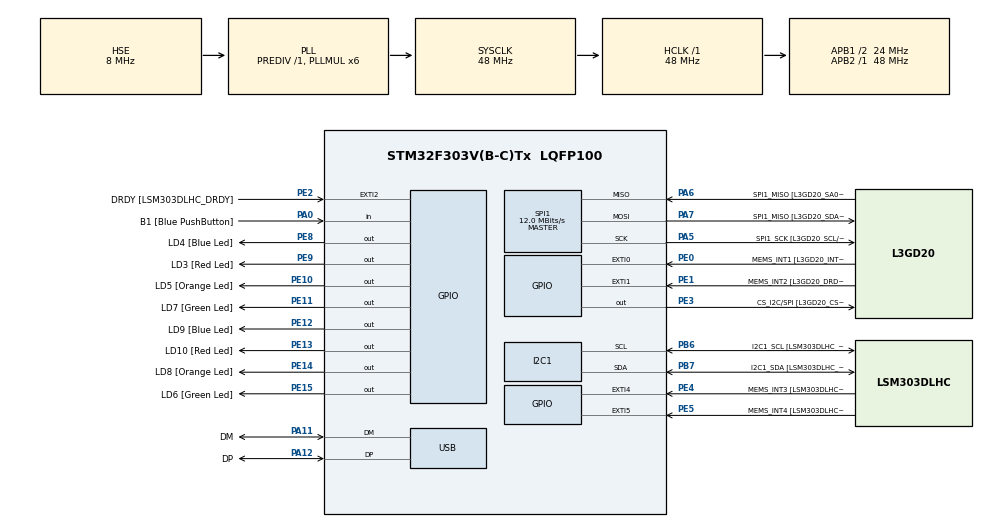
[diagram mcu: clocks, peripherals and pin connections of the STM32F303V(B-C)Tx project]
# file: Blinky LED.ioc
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I2C1.Timing=0x2000090E
I2C1.Timing-I2C=0x2000090E
Mcu.Family=STM32F3
Mcu.Name=STM32F303V(B-C)Tx
Mcu.Package=LQFP100
NVIC.PriorityGroup=NVIC_PRIORITYGROUP_0
PA0.GPIO_Label=B1 [Blue PushButton]
PA0.Signal=GPIO_Input
PA11.GPIO_Label=DM
PA11.Mode=Device
PA11.Signal=USB_DM
PA12.GPIO_Label=DP
PA12.Mode=Device
PA12.Signal=USB_DP
PA13.GPIO_Label=SWDIO
PA13.Mode=Serial_Wire
PA13.Signal=SYS_JTMS-SWDIO
PA14.GPIO_Label=SWCLK
PA14.Mode=Serial_Wire
PA14.Signal=SYS_JTCK-SWCLK
PA5.GPIO_Label=SPI1_SCK [L3GD20_SCL/SPC]
PA5.Mode=Full_Duplex_Master
PA5.Signal=SPI1_SCK
PA6.GPIO_Label=SPI1_MISO [L3GD20_SA0/SDO]
PA6.Mode=Full_Duplex_Master
PA6.Signal=SPI1_MISO
PA7.GPIO_Label=SPI1_MISO [L3GD20_SDA/SDI/SDO]
PA7.Mode=Full_Duplex_Master
PA7.Signal=SPI1_MOSI
PB3.GPIO_Label=SWO
PB3.Signal=SYS_JTDO-TRACESWO
PB6.GPIO_Label=I2C1_SCL [LSM303DLHC_SCL]
PB6.GPIO_Pu=GPIO_PULLUP
PB6.Mode=I2C
PB6.Signal=I2C1_SCL
PB7.GPIO_Label=I2C1_SDA [LSM303DLHC_SDA]
PB7.GPIO_Pu=GPIO_PULLUP
PB7.Mode=I2C
PB7.Signal=I2C1_SDA
PC14-OSC32_IN.GPIO_Label=OSC32_IN
PC14-OSC32_IN.Signal=RCC_OSC32_IN
PC15-OSC32_OUT.GPIO_Label=OSC32_OUT
PC15-OSC32_OUT.Signal=RCC_OSC32_OUT
PE0.GPIO_Label=MEMS_INT1 [L3GD20_INT1]
PE0.GPIO_ModeDefaultEXTI=GPIO_MODE_EVT_RISING
PE0.Signal=GPXTI0
PE1.GPIO_Label=MEMS_INT2 [L3GD20_DRDY/INT2]
PE1.GPIO_ModeDefaultEXTI=GPIO_MODE_EVT_RISING
PE1.Signal=GPXTI1
PE10.GPIO_Label=LD5 [Orange Led]
PE10.Signal=GPIO_Output
PE11.GPIO_Label=LD7 [Green Led]
PE11.Signal=GPIO_Output
PE12.GPIO_Label=LD9 [Blue Led]
PE12.Signal=GPIO_Output
PE13.GPIO_Label=LD10 [Red Led]
PE13.Signal=GPIO_Output
PE14.GPIO_Label=LD8 [Orange Led]
PE14.Signal=GPIO_Output
PE15.GPIO_Label=LD6 [Green Led]
PE15.Signal=GPIO_Output
PE2.GPIO_Label=DRDY [LSM303DLHC_DRDY]
PE2.GPIO_ModeDefaultEXTI=GPIO_MODE_EVT_RISING
PE2.Signal=GPXTI2
PE3.GPIO_Label=CS_I2C/SPI [L3GD20_CS_I2C/SPI]
PE3.Signal=GPIO_Output
PE4.GPIO_Label=MEMS_INT3 [LSM303DLHC_INT1]
PE4.GPIO_ModeDefaultEXTI=GPIO_MODE_EVT_RISING
PE4.Signal=GPXTI4
PE5.GPIO_Label=MEMS_INT4 [LSM303DLHC_INT2]
PE5.GPIO_ModeDefaultEXTI=GPIO_MODE_EVT_RISING
PE5.Signal=GPXTI5
PE8.GPIO_Label=LD4 [Blue Led]
PE8.Signal=GPIO_Output
PE9.GPIO_Label=LD3 [Red Led]
PE9.Signal=GPIO_Output
PF0-OSC_IN.GPIO_Label=OSC_IN
PF0-OSC_IN.Mode=HSE-External-Clock-Source
PF0-OSC_IN.Signal=RCC_OSC_IN
PF1-OSC_OUT.GPIO_Label=OSC_OUT
PF1-OSC_OUT.Signal=RCC_OSC_OUT
ProjectManager.HeapSize=0x200
ProjectManager.StackSize=0x400
ProjectManager.TargetToolchain=STM32CubeIDE
RCC.AHBFreq_Value=48000000
RCC.APB1CLKDivider=RCC_HCLK_DIV2
RCC.APB1Freq_Value=24000000
RCC.APB1TimFreq_Value=48000000
RCC.APB2Freq_Value=48000000
RCC.APB2TimFreq_Value=48000000
RCC.CortexFreq_Value=48000000
RCC.HCLKFreq_Value=48000000
RCC.HSE_VALUE=8000000
RCC.HSI_VALUE=8000000
RCC.LSE_VALUE=32768
RCC.PLLMUL=RCC_PLL_MUL6
RCC.SYSCLKFreq_VALUE=48000000
RCC.SYSCLKSourceVirtual=RCC_SYSCLKSOURCE_PLLCLK
RCC.USBFreq_Value=48000000
SPI1.BaudRatePrescaler=SPI_BAUDRATEPRESCALER_4
SPI1.BaudRatePrescaler-Full_Duplex_Master=SPI_BAUDRATEPRESCALER_2
SPI1.CalculateBaudRate=12.0 MBits/s
SPI1.CalculateBaudRate-Full_Duplex_Master=24.0 MBits/s
SPI1.Direction=SPI_DIRECTION_2LINES
SPI1.Mode=SPI_MODE_MASTER
SPI1.Mode-Full_Duplex_Master=SPI_MODE_MASTER
SPI1.VirtualType=VM_MASTER
board=STM32F3DISCOVERY

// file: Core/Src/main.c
/* USER CODE BEGIN Header */
/**
  ******************************************************************************
  * @file           : main.c
  * @brief          : Main program body
  ******************************************************************************
  * @attention
  *
  * Copyright (c) 2023 STMicroelectronics.
  * All rights reserved.
  *
  * This software is licensed under terms that can be found in the LICENSE file
  * in the root directory of this software component.
  * If no LICENSE file comes with this software, it is provided AS-IS.
  *
  ******************************************************************************
  */
/* USER CODE END Header */
#include "main.h"

I2C_HandleTypeDef hi2c1;

SPI_HandleTypeDef hspi1;

PCD_HandleTypeDef hpcd_USB_FS;

void SystemClock_Config(void);
static void MX_GPIO_Init(void);
static void MX_I2C1_Init(void);
static void MX_SPI1_Init(void);
static void MX_USB_PCD_Init(void);

int main(void)
{

  /* MCU Configuration--------------------------------------------------------*/

  /* Reset of all peripherals, Initializes the Flash interface and the Systick. */
  HAL_Init();

  /* Configure the system clock */
  SystemClock_Config();

  /* Initialize all configured peripherals */
  MX_GPIO_Init();
  MX_I2C1_Init();
  MX_SPI1_Init();
  MX_USB_PCD_Init();

  /* Infinite loop */
  /* USER CODE BEGIN WHILE */
  while (1)
  {

	  HAL_GPIO_TogglePin(GPIOE, GPIO_PIN_8);
	  HAL_Delay(500);
	  HAL_GPIO_TogglePin(GPIOE, GPIO_PIN_8);

	  HAL_GPIO_TogglePin(GPIOE, GPIO_PIN_8);
	  HAL_GPIO_TogglePin(GPIOE, GPIO_PIN_9);
	  HAL_Delay(500);
	  HAL_GPIO_TogglePin(GPIOE, GPIO_PIN_9);
	  HAL_GPIO_TogglePin(GPIOE, GPIO_PIN_8);

	  HAL_GPIO_TogglePin(GPIOE, GPIO_PIN_9);
	  HAL_GPIO_TogglePin(GPIOE, GPIO_PIN_10);
	  HAL_Delay(500);
	  HAL_GPIO_TogglePin(GPIOE, GPIO_PIN_10);
	  HAL_GPIO_TogglePin(GPIOE, GPIO_PIN_9);

	 HAL_GPIO_TogglePin(GPIOE, GPIO_PIN_11);
	 HAL_GPIO_TogglePin(GPIOE, GPIO_PIN_10);
	 HAL_Delay(500);
	 HAL_GPIO_TogglePin(GPIOE, GPIO_PIN_11);
	 HAL_GPIO_TogglePin(GPIOE, GPIO_PIN_10);

	 HAL_GPIO_TogglePin(GPIOE, GPIO_PIN_11);
	 HAL_GPIO_TogglePin(GPIOE, GPIO_PIN_12);
	 	 HAL_Delay(500);
	 HAL_GPIO_TogglePin(GPIOE, GPIO_PIN_11);
	 HAL_GPIO_TogglePin(GPIOE, GPIO_PIN_12);

	 HAL_GPIO_TogglePin(GPIOE, GPIO_PIN_12);
	 HAL_GPIO_TogglePin(GPIOE, GPIO_PIN_13);
	 	 	 HAL_Delay(500);
	 HAL_GPIO_TogglePin(GPIOE, GPIO_PIN_13);
	 HAL_GPIO_TogglePin(GPIOE, GPIO_PIN_12);

	 HAL_GPIO_TogglePin(GPIOE, GPIO_PIN_13);
	 HAL_GPIO_TogglePin(GPIOE, GPIO_PIN_14);
	 	 	 HAL_Delay(500);
	 HAL_GPIO_TogglePin(GPIOE, GPIO_PIN_14);
	 HAL_GPIO_TogglePin(GPIOE, GPIO_PIN_13);

	 HAL_GPIO_TogglePin(GPIOE, GPIO_PIN_14);
	 HAL_GPIO_TogglePin(GPIOE, GPIO_PIN_15);
	 	 	 HAL_Delay(500);
	 HAL_GPIO_TogglePin(GPIOE, GPIO_PIN_15);
	 HAL_GPIO_TogglePin(GPIOE, GPIO_PIN_14);
     HAL_Delay(500);

     HAL_GPIO_TogglePin(GPIOE, GPIO_PIN_15);
     HAL_GPIO_TogglePin(GPIOE, GPIO_PIN_8);
     	 	 	 HAL_Delay(500);
     HAL_GPIO_TogglePin(GPIOE, GPIO_PIN_8);
     HAL_GPIO_TogglePin(GPIOE, GPIO_PIN_15);

	  /* USER CODE END WHILE */

  }
}

void SystemClock_Config(void)
{
  RCC_OscInitTypeDef RCC_OscInitStruct = {0};
  RCC_ClkInitTypeDef RCC_ClkInitStruct = {0};
  RCC_PeriphCLKInitTypeDef PeriphClkInit = {0};

  /** Initializes the RCC Oscillators according to the specified parameters
  * in the RCC_OscInitTypeDef structure.
  */
  RCC_OscInitStruct.OscillatorType = RCC_OSCILLATORTYPE_HSI|RCC_OSCILLATORTYPE_HSE;
  RCC_OscInitStruct.HSEState = RCC_HSE_BYPASS;
  RCC_OscInitStruct.HSEPredivValue = RCC_HSE_PREDIV_DIV1;
  RCC_OscInitStruct.HSIState = RCC_HSI_ON;
  RCC_OscInitStruct.HSICalibrationValue = RCC_HSICALIBRATION_DEFAULT;
  RCC_OscInitStruct.PLL.PLLState = RCC_PLL_ON;
  RCC_OscInitStruct.PLL.PLLSource = RCC_PLLSOURCE_HSE;
  RCC_OscInitStruct.PLL.PLLMUL = RCC_PLL_MUL6;
  if (HAL_RCC_OscConfig(&RCC_OscInitStruct) != HAL_OK)
  {
    Error_Handler();
  }

  /** Initializes the CPU, AHB and APB buses clocks
  */
  RCC_ClkInitStruct.ClockType = RCC_CLOCKTYPE_HCLK|RCC_CLOCKTYPE_SYSCLK
                              |RCC_CLOCKTYPE_PCLK1|RCC_CLOCKTYPE_PCLK2;
  RCC_ClkInitStruct.SYSCLKSource = RCC_SYSCLKSOURCE_PLLCLK;
  RCC_ClkInitStruct.AHBCLKDivider = RCC_SYSCLK_DIV1;
  RCC_ClkInitStruct.APB1CLKDivider = RCC_HCLK_DIV2;
  RCC_ClkInitStruct.APB2CLKDivider = RCC_HCLK_DIV1;

  if (HAL_RCC_ClockConfig(&RCC_ClkInitStruct, FLASH_LATENCY_1) != HAL_OK)
  {
    Error_Handler();
  }
  PeriphClkInit.PeriphClockSelection = RCC_PERIPHCLK_USB|RCC_PERIPHCLK_I2C1;
  PeriphClkInit.I2c1ClockSelection = RCC_I2C1CLKSOURCE_HSI;
  PeriphClkInit.USBClockSelection = RCC_USBCLKSOURCE_PLL;
  if (HAL_RCCEx_PeriphCLKConfig(&PeriphClkInit) != HAL_OK)
  {
    Error_Handler();
  }
}

static void MX_I2C1_Init(void)
{

  hi2c1.Instance = I2C1;
  hi2c1.Init.Timing = 0x2000090E;
  hi2c1.Init.OwnAddress1 = 0;
  hi2c1.Init.AddressingMode = I2C_ADDRESSINGMODE_7BIT;
  hi2c1.Init.DualAddressMode = I2C_DUALADDRESS_DISABLE;
  hi2c1.Init.OwnAddress2 = 0;
  hi2c1.Init.OwnAddress2Masks = I2C_OA2_NOMASK;
  hi2c1.Init.GeneralCallMode = I2C_GENERALCALL_DISABLE;
  hi2c1.Init.NoStretchMode = I2C_NOSTRETCH_DISABLE;
  if (HAL_I2C_Init(&hi2c1) != HAL_OK)
  {
    Error_Handler();
  }

  /** Configure Analogue filter
  */
  if (HAL_I2CEx_ConfigAnalogFilter(&hi2c1, I2C_ANALOGFILTER_ENABLE) != HAL_OK)
  {
    Error_Handler();
  }

  /** Configure Digital filter
  */
  if (HAL_I2CEx_ConfigDigitalFilter(&hi2c1, 0) != HAL_OK)
  {
    Error_Handler();
  }

}

static void MX_SPI1_Init(void)
{

  /* SPI1 parameter configuration*/
  hspi1.Instance = SPI1;
  hspi1.Init.Mode = SPI_MODE_MASTER;
  hspi1.Init.Direction = SPI_DIRECTION_2LINES;
  hspi1.Init.DataSize = SPI_DATASIZE_4BIT;
  hspi1.Init.CLKPolarity = SPI_POLARITY_LOW;
  hspi1.Init.CLKPhase = SPI_PHASE_1EDGE;
  hspi1.Init.NSS = SPI_NSS_SOFT;
  hspi1.Init.BaudRatePrescaler = SPI_BAUDRATEPRESCALER_4;
  hspi1.Init.FirstBit = SPI_FIRSTBIT_MSB;
  hspi1.Init.TIMode = SPI_TIMODE_DISABLE;
  hspi1.Init.CRCCalculation = SPI_CRCCALCULATION_DISABLE;
  hspi1.Init.CRCPolynomial = 7;
  hspi1.Init.CRCLength = SPI_CRC_LENGTH_DATASIZE;
  hspi1.Init.NSSPMode = SPI_NSS_PULSE_ENABLE;
  if (HAL_SPI_Init(&hspi1) != HAL_OK)
  {
    Error_Handler();
  }

}

static void MX_USB_PCD_Init(void)
{

  hpcd_USB_FS.Instance = USB;
  hpcd_USB_FS.Init.dev_endpoints = 8;
  hpcd_USB_FS.Init.speed = PCD_SPEED_FULL;
  hpcd_USB_FS.Init.phy_itface = PCD_PHY_EMBEDDED;
  hpcd_USB_FS.Init.low_power_enable = DISABLE;
  hpcd_USB_FS.Init.battery_charging_enable = DISABLE;
  if (HAL_PCD_Init(&hpcd_USB_FS) != HAL_OK)
  {
    Error_Handler();
  }

}

static void MX_GPIO_Init(void)
{
  GPIO_InitTypeDef GPIO_InitStruct = {0};

  /* GPIO Ports Clock Enable */
  __HAL_RCC_GPIOE_CLK_ENABLE();
  __HAL_RCC_GPIOC_CLK_ENABLE();
  __HAL_RCC_GPIOF_CLK_ENABLE();
  __HAL_RCC_GPIOA_CLK_ENABLE();
  __HAL_RCC_GPIOB_CLK_ENABLE();

  /*Configure GPIO pin Output Level */
  HAL_GPIO_WritePin(GPIOE, CS_I2C_SPI_Pin|LD4_Pin|LD3_Pin|LD5_Pin
                          |LD7_Pin|LD9_Pin|LD10_Pin|LD8_Pin
                          |LD6_Pin, GPIO_PIN_RESET);

  /*Configure GPIO pins : DRDY_Pin MEMS_INT3_Pin MEMS_INT4_Pin MEMS_INT1_Pin
                           MEMS_INT2_Pin */
  GPIO_InitStruct.Pin = DRDY_Pin|MEMS_INT3_Pin|MEMS_INT4_Pin|MEMS_INT1_Pin
                          |MEMS_INT2_Pin;
  GPIO_InitStruct.Mode = GPIO_MODE_EVT_RISING;
  GPIO_InitStruct.Pull = GPIO_NOPULL;
  HAL_GPIO_Init(GPIOE, &GPIO_InitStruct);

  /*Configure GPIO pins : CS_I2C_SPI_Pin LD4_Pin LD3_Pin LD5_Pin
                           LD7_Pin LD9_Pin LD10_Pin LD8_Pin
                           LD6_Pin */
  GPIO_InitStruct.Pin = CS_I2C_SPI_Pin|LD4_Pin|LD3_Pin|LD5_Pin
                          |LD7_Pin|LD9_Pin|LD10_Pin|LD8_Pin
                          |LD6_Pin;
  GPIO_InitStruct.Mode = GPIO_MODE_OUTPUT_PP;
  GPIO_InitStruct.Pull = GPIO_NOPULL;
  GPIO_InitStruct.Speed = GPIO_SPEED_FREQ_LOW;
  HAL_GPIO_Init(GPIOE, &GPIO_InitStruct);

  /*Configure GPIO pin : B1_Pin */
  GPIO_InitStruct.Pin = B1_Pin;
  GPIO_InitStruct.Mode = GPIO_MODE_INPUT;
  GPIO_InitStruct.Pull = GPIO_NOPULL;
  HAL_GPIO_Init(B1_GPIO_Port, &GPIO_InitStruct);

}

void Error_Handler(void)
{
  __disable_irq();
  while (1)
  {
  }
}
